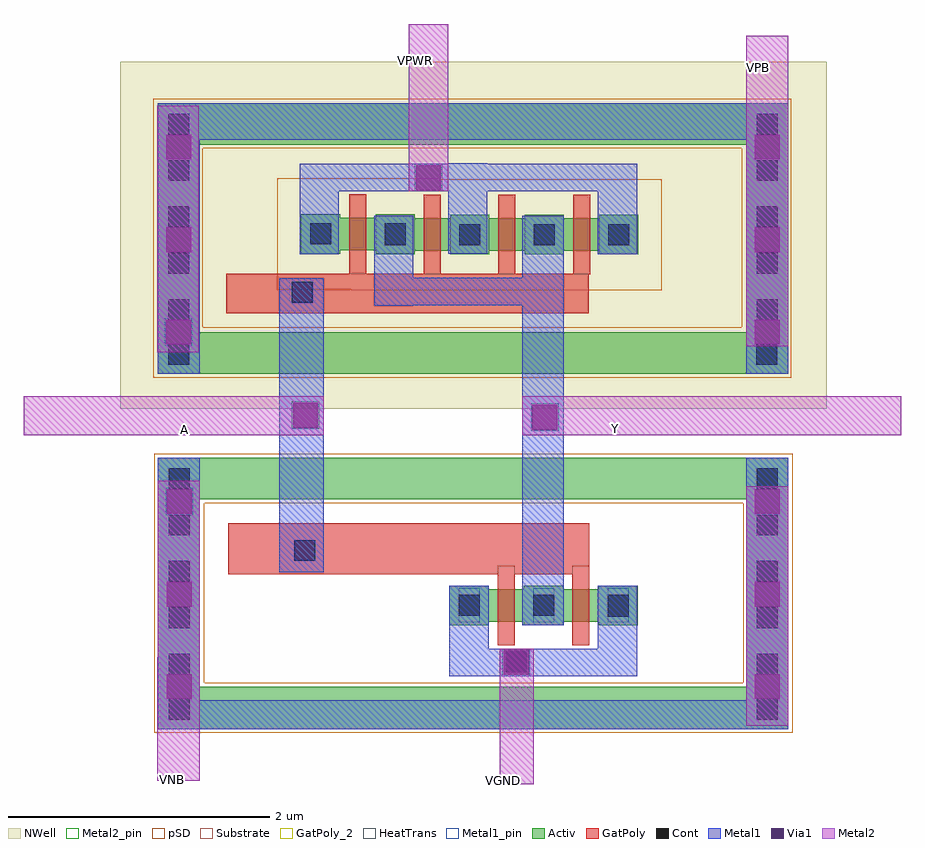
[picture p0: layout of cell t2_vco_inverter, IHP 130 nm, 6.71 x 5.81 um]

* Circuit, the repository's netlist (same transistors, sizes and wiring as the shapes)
* Extracted by KLayout with SG13G2 LVS runset on : 11/06/2025 08:33

.SUBCKT t2_vco_inverter
M$1 2 4 3 1 sg13_lv_nmos L=0.13u W=0.5u AS=0.17p AD=0.17p PS=2.08u PD=2.08u
M$3 3 4 5 6 sg13_lv_pmos L=0.13u W=1u AS=0.2515p AD=0.34p PS=2.97u PD=4.16u
.ENDS t2_vco_inverter

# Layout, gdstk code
import gdstk
lib = gdstk.Library(unit=1e-6, precision=1e-09)
def R(c, l, rs):  # rectangles x0, y0, x1, y1
    for r in rs: c.add(gdstk.rectangle(r[:2], r[2:], *l))
def A(c, l, x, y, w, h, nx, ny, dx, dy):  # array of equal rectangles
    R(c, l, [(x+i*dx, y+j*dy, x+i*dx+w, y+j*dy+h) for i in range(nx) for j in range(ny)])
Activ = (1, 0)
GatPoly = (5, 0)
GatPoly_2 = (5, 2)
Cont = (6, 0)
Metal1 = (8, 0)
Metal1_pin = (8, 2)
Metal2 = (10, 0)
Metal2_pin = (10, 2)
pSD = (14, 0)
Via1 = (19, 0)
NWell = (31, 0)
Substrate = (40, 0)
HeatTrans = (51, 0)

nmos = lib.new_cell('nmos')
R(nmos, Activ, [(0,0,0.3,0.3), (0.57,0,0.87,0.3), (0,0.025,0.87,0.275)])
R(nmos, GatPoly, [(0.37,-0.155,0.5,0.455)])
R(nmos, GatPoly_2, [(0.37,-0.155,0.5,0.455)])
R(nmos, Cont, [(0.07,0.07,0.23,0.23), (0.64,0.07,0.8,0.23)])
R(nmos, Metal1, [(0.07,0.02,0.23,0.28), (0.64,0.02,0.8,0.28)])
R(nmos, Metal1_pin, [(0.07,0.02,0.23,0.28), (0.64,0.02,0.8,0.28)])
R(nmos, HeatTrans, [(0.37,-0.155,0.5,0.455)])
nmos.add(gdstk.Label('nmos', (0.435,0.15), layer=63, texttype=0))
nmos.add(gdstk.Label('nmos', (0.435,0.15), layer=51, texttype=0))

pmos_2 = lib.new_cell('pmos$2')
R(pmos_2, Activ, [(0,0,0.3,0.3), (0.57,0,0.87,0.3), (0,0.025,0.87,0.275)])
R(pmos_2, GatPoly, [(0.37,-0.155,0.5,0.455), (0.37,-0.155,0.5,0.455)])
R(pmos_2, Cont, [(0.07,0.07,0.23,0.23), (0.64,0.07,0.8,0.23)])
R(pmos_2, Metal1, [(0.07,0.02,0.23,0.28), (0.07,0.02,0.23,0.28), (0.64,0.02,0.8,0.28), (0.64,0.02,0.8,0.28)])
R(pmos_2, pSD, [(-0.18,-0.275,1.05,0.575)])
R(pmos_2, NWell, [(-0.31,-0.31,1.18,0.61)])
R(pmos_2, Substrate, [(0.57,0,0.87,0.3)])
R(pmos_2, HeatTrans, [(0.37,-0.155,0.5,0.455)])
pmos_2.add(gdstk.Label('pmos', (0.435,0.15), layer=63, texttype=0))
pmos_2.add(gdstk.Label('pmos', (0.435,0.15), layer=51, texttype=0))

t2_vco_inverter = lib.new_cell('t2_vco_inverter')
R(t2_vco_inverter, Activ, [(-4.36,-2.545,0.14,-2.22), (0.14,-2.545,0.46,-0.79), (-4.36,-2.22,-4.04,-0.47), (-4.04,-0.79,0.46,-0.47), (-4.36,0.17,0.14,0.49), (0.14,0.17,0.46,1.92), (-4.36,0.49,-4.04,2.24), (-4.04,1.92,0.46,2.24)])
R(t2_vco_inverter, GatPoly, [(-3.82,-1.36,-1.06,-0.97), (-3.835,0.635,-1.065,0.935)])
A(t2_vco_inverter, Cont, -4.275, -2.13, 0.16, 0.16, 1, 5, 0, 0.355)
A(t2_vco_inverter, Cont, 0.22, -2.13, 0.16, 0.16, 1, 5, 0, 0.355)
A(t2_vco_inverter, Cont, -4.28, 0.58, 0.16, 0.16, 1, 5, 0, 0.355)
A(t2_vco_inverter, Cont, 0.22, 0.58, 0.16, 0.16, 1, 5, 0, 0.355)
R(t2_vco_inverter, Cont, [(-4.275,-2.475,-4.115,-2.31), (0.22,-2.475,0.38,-2.31), (-1.7,-2.11,-1.54,-1.95), (-0.92,-1.685,-0.76,-1.525), (-2.06,-1.68,-1.9,-1.52), (-1.49,-1.68,-1.33,-1.52), (-3.315,-1.26,-3.155,-1.1), (-4.28,0.24,-4.12,0.4), (0.215,0.24,0.375,0.4), (-3.335,0.715,-3.175,0.875)])
R(t2_vco_inverter, Metal1, [(-4.36,-2.545,-4.04,-0.47), (-4.36,-2.545,-4.04,-0.47), (-4.04,-2.545,0.14,-2.325), (0.14,-2.545,0.46,-0.47), (-2.13,-2.14,-1.83,-1.45), (-1.835,-2.14,-0.995,-1.93), (-0.995,-2.14,-0.695,-1.45), (-1.575,-1.75,-1.255,1.38), (-3.43,-1.345,-3.09,0.9), (-4.36,0.17,-4.04,2.24), (0.14,0.17,0.46,2.24), (-2.705,0.69,-2.405,1.38), (-2.415,0.695,-1.575,0.905), (-3.275,1.085,-2.975,1.775), (-0.995,1.085,-0.695,1.775), (-2.14,1.09,-1.84,1.78), (-2.975,1.565,-2.135,1.775), (-1.84,1.565,-0.995,1.775), (-4.04,1.96,0.14,2.24)])
R(t2_vco_inverter, Metal2, [(-1.745,-2.965,-1.485,-1.93), (-4.365,-2.94,-4.04,-1.995), (-4.36,-2.52,-4.04,-0.645), (0.14,-2.52,0.46,-0.69), (-5.385,-0.3,-3.09,0), (-1.575,-0.3,1.325,0), (-4.365,0.335,-4.045,2.22), (0.14,0.38,0.46,2.225), (-2.44,1.565,-2.14,2.845), (0.14,1.755,0.46,2.755)])
R(t2_vco_inverter, Metal2_pin, [(-1.725,-2.14,-1.515,-1.93), (-4.3,-0.91,-4.09,-0.7), (-1.505,-0.265,-1.295,-0.055), (-3.335,-0.25,-3.125,-0.04), (-4.305,0.385,-4.095,0.595), (-2.395,1.565,-2.185,1.775)])
R(t2_vco_inverter, pSD, [(-4.385,-2.575,0.115,-2.19), (0.115,-2.575,0.495,-0.82), (-4.385,-2.19,-4.005,-0.44), (-4.005,-0.82,0.495,-0.44), (-4.395,0.14,0.105,0.525), (0.105,0.14,0.485,1.895), (-4.395,0.525,-4.015,2.275), (-4.015,1.895,0.485,2.275)])
R(t2_vco_inverter, Via1, [(-4.29,-2.315,-4.1,-2.125), (0.205,-2.315,0.395,-2.125), (-1.715,-2.13,-1.525,-1.94), (-4.29,-1.61,-4.1,-1.42), (0.205,-1.61,0.395,-1.42), (-4.29,-0.9,-4.1,-0.71), (0.205,-0.9,0.395,-0.71), (-1.495,-0.255,-1.305,-0.065), (-3.325,-0.24,-3.135,-0.05), (-4.295,0.395,-4.105,0.585), (0.205,0.395,0.395,0.585), (-4.295,1.1,-4.105,1.29), (0.205,1.1,0.395,1.29), (-2.385,1.575,-2.195,1.765), (-4.295,1.81,-4.105,2), (0.205,1.81,0.395,2)])
R(t2_vco_inverter, NWell, [(-4.645,-0.095,0.755,2.555)])
t2_vco_inverter.add(gdstk.Reference(nmos, (-1.56,-1.75)))
t2_vco_inverter.add(gdstk.Reference(nmos, (-2.13,-1.75)))
t2_vco_inverter.add(gdstk.Reference(pmos_2, (-2.125,1.085)))
t2_vco_inverter.add(gdstk.Reference(pmos_2, (-1.555,1.085)))
t2_vco_inverter.add(gdstk.Reference(pmos_2, (-2.695,1.085)))
t2_vco_inverter.add(gdstk.Reference(pmos_2, (-3.265,1.09)))
t2_vco_inverter.add(gdstk.Label('VNB', (-4.245,-2.93), layer=10, texttype=2))
t2_vco_inverter.add(gdstk.Label('VGND', (-1.72,-2.94), layer=10, texttype=2))
t2_vco_inverter.add(gdstk.Label('A', (-4.155,-0.255), layer=10, texttype=2))
t2_vco_inverter.add(gdstk.Label('Y', (-0.86,-0.245), layer=10, texttype=2))
t2_vco_inverter.add(gdstk.Label('VPWR', (-2.39,2.565), layer=10, texttype=2))
t2_vco_inverter.add(gdstk.Label('VPB', (0.235,2.51), layer=10, texttype=2))

lib.write_gds('t2_vco_inverter.gds')
